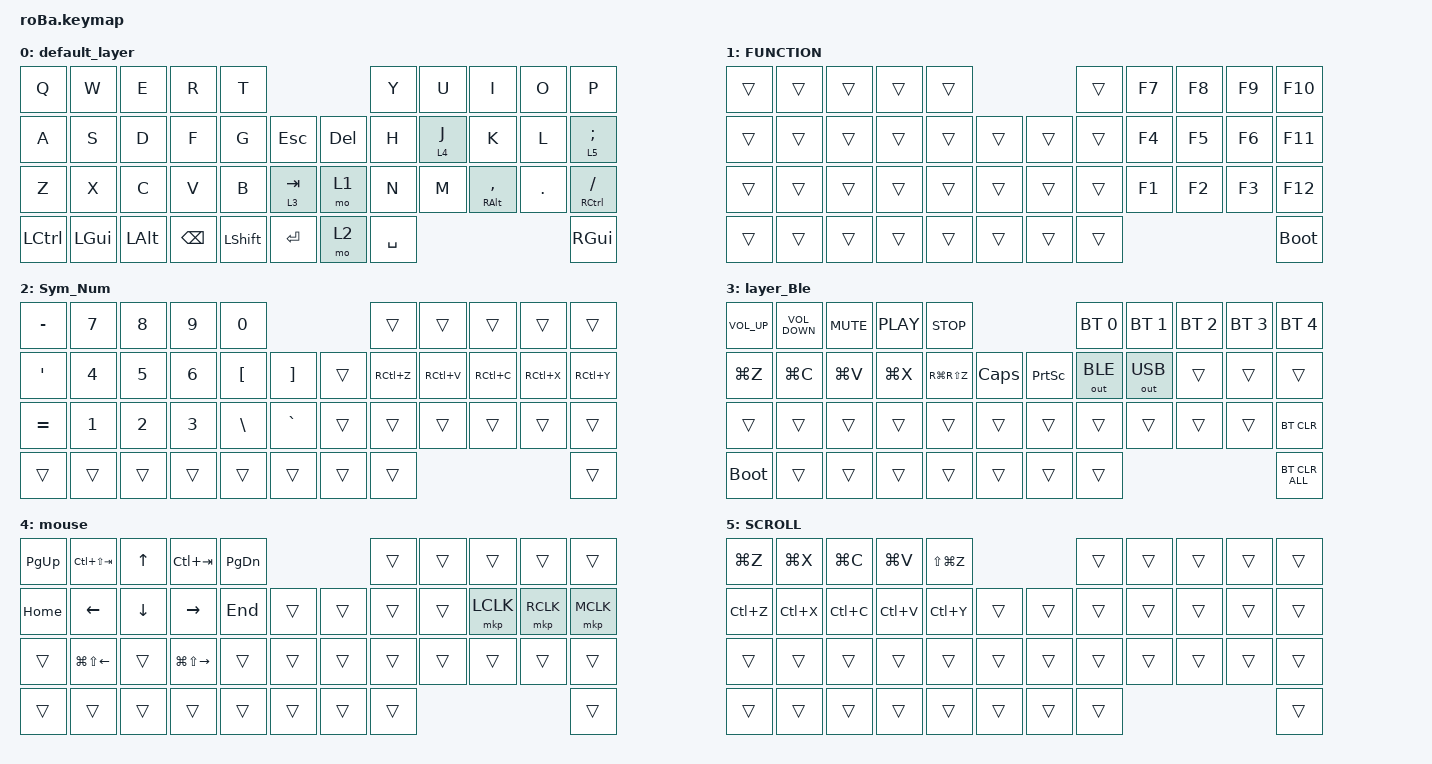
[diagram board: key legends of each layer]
#include <behaviors.dtsi>
#include <dt-bindings/zmk/bt.h>
#include <dt-bindings/zmk/keys.h>
#include <dt-bindings/zmk/outputs.h>
#include <dt-bindings/zmk/pointing.h>

&mt {
    flavor = "balanced";
    quick-tap-ms = <0>;
    bindings = <&kp>, <&kp>;

    tapping-term-ms = <300>;
};

&msc {
};

&trackball {
    // automouse-layer = <7>;

    scroll-layers = <5>;

    // arrows {
    //     layers = <3>;
    //     bindings =
    //         <&kp RIGHT_ARROW>,
    //         <&kp LEFT_ARROW>,
    //         <&kp UP_ARROW>,
    //         <&kp DOWN_ARROW>;
    //     tick = <10>;
    //     wait-ms = <5>;
    //     tap-ms = <5>;
    // };
};

/ {
    combos { compatible = "zmk,combos"; };

    keymap {
        compatible = "zmk,keymap";

        default_layer {
            bindings = <
&kp Q             &kp W     &kp E         &kp R          &kp T                                       &kp Y      &kp U    &kp I                &kp O       &kp P
&kp A             &kp S     &kp D         &kp F          &kp G           &kp ESCAPE      &kp DELETE  &kp H      &lt 4 J  &kp K                &kp L       &lt 5 SEMICOLON
&kp Z             &kp X     &kp C         &kp V          &kp B           &lt 3 TAB       &mo 1       &kp N      &kp M    &mt RIGHT_ALT COMMA  &kp PERIOD  &mt RCTRL SLASH
&kp LEFT_CONTROL  &kp LGUI  &kp LEFT_ALT  &kp BACKSPACE  &kp LEFT_SHIFT  &kp ENTER       &mo 2       &kp SPACE                                            &kp RGUI
            >;
        };

        FUNCTION {
            bindings = <
&trans  &trans  &trans  &trans  &trans                      &trans  &kp F7  &kp F8  &kp F9  &kp F10
&trans  &trans  &trans  &trans  &trans  &trans      &trans  &trans  &kp F4  &kp F5  &kp F6  &kp F11
&trans  &trans  &trans  &trans  &trans  &trans      &trans  &trans  &kp F1  &kp F2  &kp F3  &kp F12
&trans  &trans  &trans  &trans  &trans  &trans      &trans  &trans                          &bootloader
            >;
        };

        Sym_Num {
            bindings = <
&kp MINUS  &kp N7        &kp N8        &kp N9        &kp N0                                           &trans     &trans     &trans     &trans     &trans
&kp SQT    &kp NUMBER_4  &kp N5        &kp NUMBER_6  &kp LEFT_BRACKET  &kp RIGHT_BRACKET      &trans  &kp RC(Z)  &kp RC(V)  &kp RC(C)  &kp RC(X)  &kp RC(Y)
&kp EQUAL  &kp NUMBER_1  &kp NUMBER_2  &kp NUMBER_3  &kp BACKSLASH     &kp GRAVE              &trans  &trans     &trans     &trans     &trans     &trans
&trans     &trans        &trans        &trans        &trans            &trans                 &trans  &trans                                      &trans
            >;
        };

        layer_Ble {
            bindings = <
&kp C_VOLUME_UP  &kp C_VOLUME_DOWN  &kp C_MUTE  &kp C_PLAY  &kp C_STOP                                        &bt BT_SEL 0  &bt BT_SEL 1  &bt BT_SEL 2  &bt BT_SEL 3  &bt BT_SEL 4
&kp LG(Z)        &kp LG(C)          &kp LG(V)   &kp LG(X)   &kp RG(RS(Z))  &kp CAPSLOCK      &kp PRINTSCREEN  &out OUT_BLE  &out OUT_USB  &trans        &trans        &trans
&trans           &trans             &trans      &trans      &trans         &trans            &trans           &trans        &trans        &trans        &trans        &bt BT_CLR
&bootloader      &trans             &trans      &trans      &trans         &trans            &trans           &trans                                                  &bt BT_CLR_ALL
            >;
        };

        mouse {
            bindings = <
&kp PAGE_UP  &kp LC(LS(TAB))   &kp UP_ARROW    &kp LC(TAB)        &kp PAGE_DOWN                      &trans  &trans  &trans     &trans     &trans
&kp HOME     &kp LEFT          &kp DOWN_ARROW  &kp RIGHT_ARROW    &kp END        &trans      &trans  &trans  &trans  &mkp LCLK  &mkp RCLK  &mkp MCLK
&trans       &kp LG(LS(LEFT))  &trans          &kp LG(LS(RIGHT))  &trans         &trans      &trans  &trans  &trans  &trans     &trans     &trans
&trans       &trans            &trans          &trans             &trans         &trans      &trans  &trans                                &trans
            >;
        };

        SCROLL {
            bindings = <
&kp LG(Z)  &kp LG(X)  &kp LG(C)  &kp LG(V)  &kp LS(LG(Z))                      &trans  &trans  &trans  &trans  &trans
&kp LC(Z)  &kp LC(X)  &kp LC(C)  &kp LC(V)  &kp LC(Y)      &trans      &trans  &trans  &trans  &trans  &trans  &trans
&trans     &trans     &trans     &trans     &trans         &trans      &trans  &trans  &trans  &trans  &trans  &trans
&trans     &trans     &trans     &trans     &trans         &trans      &trans  &trans                          &trans
            >;
        };
    };
};
